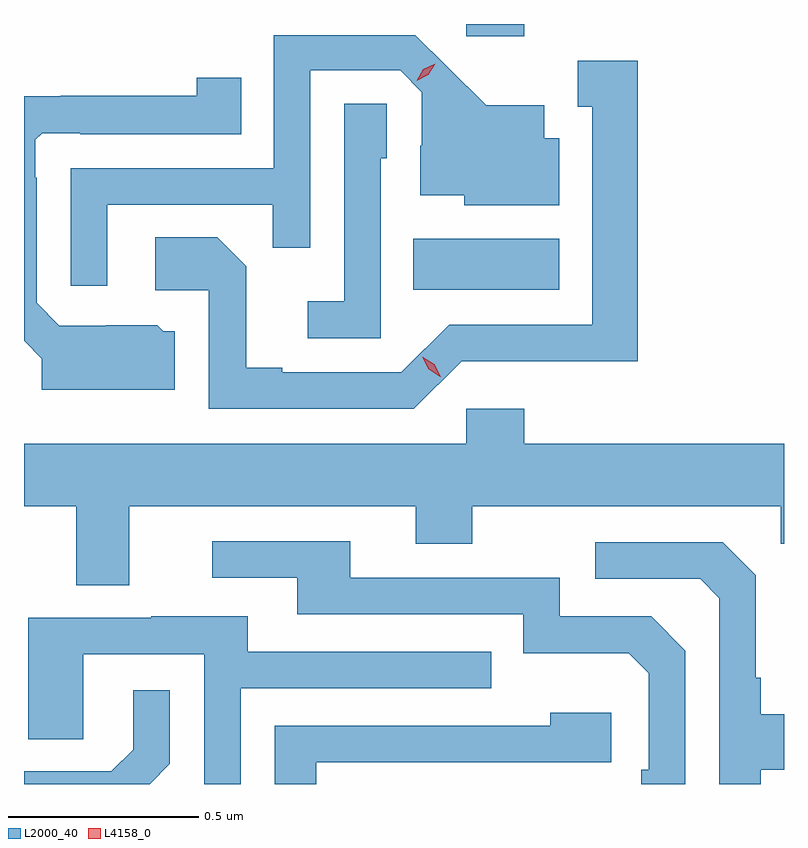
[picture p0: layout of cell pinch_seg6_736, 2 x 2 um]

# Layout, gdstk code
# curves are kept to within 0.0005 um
import gdstk
lib = gdstk.Library(unit=1e-6, precision=1e-09)
def R(c, l, rs):  # rectangles x0, y0, x1, y1
    for r in rs: c.add(gdstk.rectangle(r[:2], r[2:], *l))
def P(c, l, *ps):  # polygons
    for p in ps: c.add(gdstk.Polygon(p, *l))
L2000_40 = (2000, 40)
L4158_0 = (4158, 0)

pinch_seg6_736 = lib.new_cell('pinch_seg6_736')
R(pinch_seg6_736, L2000_40, [(623.326,937.25,623.71,937.384), (623.466,937.917,623.618,937.949)])
P(pinch_seg6_736, L2000_40, [(622.521,937.473),(622.957,937.473),(622.957,937.36),(623.055,937.36),(623.055,937.827),(623.292,937.827),(623.349,937.77),(623.349,937.628),(623.345,937.628),(623.345,937.499),(623.46,937.499),(623.46,937.472),(623.71,937.472),(623.71,937.648),(623.671,937.648),(623.671,937.735),(623.519,937.735),(623.332,937.92),(622.959,937.92),(622.959,937.569),(622.425,937.569),(622.425,937.26),(622.521,937.26)],
  [(623.454,937.062),(623.676,937.062),(623.676,937.061),(623.917,937.061),(623.917,937.852),(623.759,937.852),(623.759,937.731),(623.798,937.731),(623.798,937.158),(623.421,937.158),(623.295,937.032),(622.981,937.032),(622.981,937.045),(622.887,937.045),(622.887,937.312),(622.811,937.388),(622.647,937.388),(622.647,937.248),(622.788,937.248),(622.788,936.936),(623.328,936.936)],
  [(622.699,937.14),(622.668,937.14),(622.652,937.156),(622.518,937.156),(622.518,937.155),(622.395,937.155),(622.335,937.215),(622.335,937.544),(622.332,937.544),(622.332,937.644),(622.35,937.662),(622.45,937.662),(622.45,937.659),(622.874,937.659),(622.874,937.807),(622.756,937.807),(622.756,937.76),(622.399,937.76),(622.399,937.759),(622.302,937.759),(622.302,937.115),(622.349,937.068),(622.349,936.986),(622.699,936.986)],
  [(623.241,937.596),(623.256,937.596),(623.256,937.739),(623.145,937.739),(623.145,937.219),(623.049,937.219),(623.049,937.122),(623.241,937.122)],
  [(622.579,936.68),(623.333,936.68),(623.333,936.581),(623.481,936.581),(623.481,936.68),(624.294,936.68),(624.294,936.581),(624.302,936.581),(624.302,936.844),(623.618,936.844),(623.618,936.937),(623.466,936.937),(623.466,936.844),(622.302,936.844),(622.302,936.68),(622.439,936.68),(622.439,936.472),(622.579,936.472)],
  [(624.042,936.3),(623.952,936.39),(623.712,936.39),(623.712,936.492),(623.161,936.492),(623.161,936.588),(622.797,936.588),(622.797,936.492),(623.021,936.492),(623.021,936.396),(623.616,936.396),(623.616,936.293),(623.893,936.293),(623.946,936.24),(623.946,935.986),(623.926,935.986),(623.926,935.949),(624.042,935.949)],
  [(624.241,935.986),(624.302,935.986),(624.302,936.133),(624.241,936.133),(624.241,936.229),(624.228,936.229),(624.228,936.498),(624.141,936.585),(623.805,936.585),(623.805,936.489),(624.081,936.489),(624.132,936.438),(624.132,935.949),(624.241,935.949)],
  [(622.872,936.201),(623.531,936.201),(623.531,936.297),(622.891,936.297),(622.891,936.391),(622.637,936.391),(622.637,936.387),(622.313,936.387),(622.313,936.067),(622.458,936.067),(622.458,936.291),(622.776,936.291),(622.776,935.949),(622.872,935.949)],
  [(622.686,936.002),(622.686,936.196),(622.589,936.196),(622.589,936.039),(622.532,935.982),(622.302,935.982),(622.302,935.949),(622.633,935.949)],
  [(623.071,936.006),(623.848,936.006),(623.848,936.136),(623.687,936.136),(623.687,936.102),(622.962,936.102),(622.962,935.949),(623.071,935.949)])
P(pinch_seg6_736, L4158_0, [(623.398,937.021),(623.367,937.041),(623.35,937.074),(623.35,937.074),(623.35,937.074),(623.382,937.054),(623.399,937.021),(623.399,937.021)],
  [(623.335,937.8),(623.335,937.8),(623.353,937.83),(623.384,937.845),(623.384,937.845),(623.384,937.844),(623.366,937.815),(623.335,937.8)])

lib.write_gds('pinch_seg6_736.gds')
